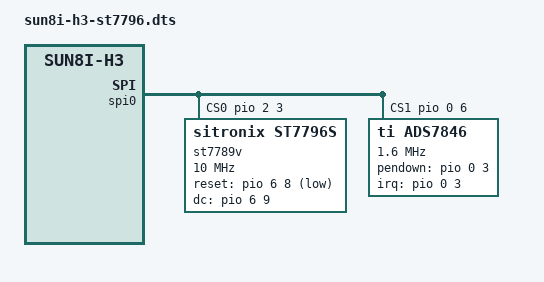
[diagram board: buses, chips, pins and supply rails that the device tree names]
/dts-v1/;
/plugin/;

/ {
    compatible = "allwinner,sun8i-h3";

	fragment@0 {
		target = <&spi0>;
		__overlay__ {
			num-cs = <2>;
			cs-gpios = <&pio 2 3 0>,
					   <&pio 0 6 0>;			
			status = "okay";
			#address-cells = <1>;
			#size-cells = <0>;

			st7789v: st7789v@0{
				compatible = "sitronix,st7796s";
				reg = <0>;
				spi-max-frequency = <10000000>;
				rotation = <180>;
				fps = <30>;
				buswidth = <8>;
				reset-gpios = <&pio 6 8 1>;
				dc-gpios = <&pio 6 9 0>;
				debug = <0>;
			};

			ads7846: ads7846@0 {
				compatible = "ti,ads7846";
				reg = <1>; 
				status = "okay";
				spi-max-frequency = <1600000>;
				interrupt-parent = <&pio>;
				interrupts = <0 3 2>; /* PA3 IRQ_TYPE_EDGE_FALLING */
				pendown-gpio = <&pio 0 3 0>; /* PA3 */

				/* driver defaults, optional */
				ti,x-min = /bits/ 16 <0>;
				ti,y-min = /bits/ 16 <0>;
				ti,x-max = /bits/ 16 <0x0FFF>;
				ti,y-max = /bits/ 16 <0x0FFF>;
				ti,pressure-min = /bits/ 16 <0>;
				ti,pressure-max = /bits/ 16 <0xFFFF>;
				ti,x-plate-ohms = /bits/ 16 <400>;
		};

		};
	};


};
